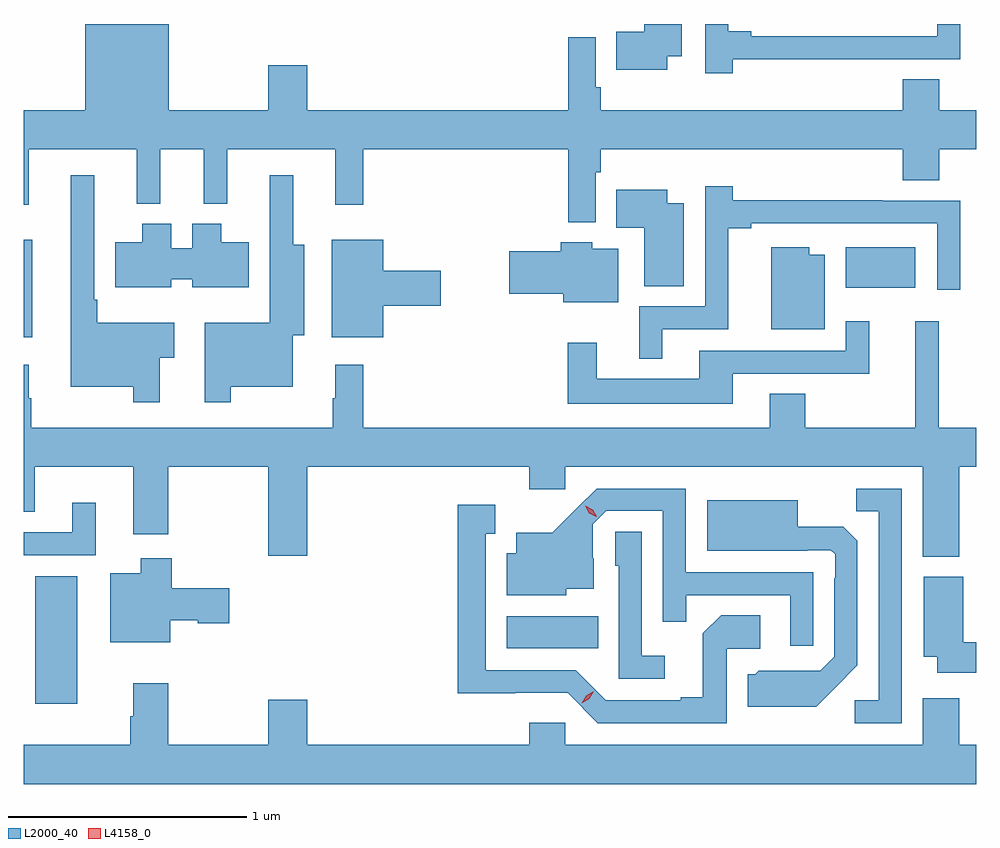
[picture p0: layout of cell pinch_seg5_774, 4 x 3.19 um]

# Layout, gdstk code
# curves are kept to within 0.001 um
import gdstk
lib = gdstk.Library(unit=1e-6, precision=1e-09)
def R(c, l, rs):  # rectangles x0, y0, x1, y1
    for r in rs: c.add(gdstk.rectangle(r[:2], r[2:], *l))
def P(c, l, *ps):  # polygons
    for p in ps: c.add(gdstk.Polygon(p, *l))
L2000_40 = (2000, 40)
L4158_0 = (4158, 0)

pinch_seg5_774 = lib.new_cell('pinch_seg5_774')
R(pinch_seg5_774, L2000_40, [(799.394,897.056,799.57,897.592), (801.374,897.29,801.758,897.424), (799.345,898.595,799.381,899.005), (802.796,898.802,803.089,898.972)])
P(pinch_seg5_774, L2000_40, [(799.604,899.548),(799.345,899.548),(799.345,899.151),(799.367,899.151),(799.367,899.384),(799.82,899.384),(799.82,899.156),(799.919,899.156),(799.919,899.384),(800.102,899.384),(800.102,899.156),(800.201,899.156),(800.201,899.384),(800.654,899.384),(800.654,899.151),(800.771,899.151),(800.771,899.384),(801.631,899.384),(801.631,899.078),(801.747,899.078),(801.747,899.288),(801.767,899.288),(801.767,899.384),(803.036,899.384),(803.036,899.254),(803.188,899.254),(803.188,899.384),(803.345,899.384),(803.345,899.548),(803.188,899.548),(803.188,899.678),(803.036,899.678),(803.036,899.548),(801.767,899.548),(801.767,899.644),(801.747,899.644),(801.747,899.854),(801.631,899.854),(801.631,899.548),(800.536,899.548),(800.536,899.737),(800.372,899.737),(800.372,899.548),(799.954,899.548),(799.954,899.91),(799.604,899.91)],
  [(802.048,899.774),(802.108,899.774),(802.108,899.91),(801.95,899.91),(801.95,899.878),(801.832,899.878),(801.832,899.717),(802.048,899.717)],
  [(802.322,899.762),(802.952,899.762),(802.952,899.763),(803.277,899.763),(803.277,899.91),(803.181,899.91),(803.181,899.859),(802.399,899.859),(802.399,899.879),(802.304,899.879),(802.304,899.91),(802.206,899.91),(802.206,899.703),(802.322,899.703)],
  [(800.215,898.388),(800.476,898.388),(800.476,898.604),(800.524,898.604),(800.524,898.984),(800.477,898.984),(800.477,899.275),(800.379,899.275),(800.379,898.657),(800.106,898.657),(800.106,898.323),(800.215,898.323)],
  [(799.916,898.51),(799.978,898.51),(799.978,898.657),(799.654,898.657),(799.654,898.753),(799.641,898.753),(799.641,899.275),(799.544,899.275),(799.544,898.388),(799.806,898.388),(799.806,898.323),(799.916,898.323)],
  [(802.027,898.629),(802.304,898.629),(802.304,899.053),(802.399,899.053),(802.399,899.073),(803.181,899.073),(803.181,898.794),(803.277,898.794),(803.277,899.169),(802.952,899.169),(802.952,899.171),(802.322,899.171),(802.322,899.23),(802.206,899.23),(802.206,898.725),(801.929,898.725),(801.929,898.505),(802.027,898.505)],
  [(802.117,899.158),(802.048,899.158),(802.048,899.215),(801.832,899.215),(801.832,899.054),(801.95,899.054),(801.95,898.81),(802.117,898.81)],
  [(799.966,898.838),(800.054,898.838),(800.054,898.805),(800.29,898.805),(800.29,898.993),(800.176,898.993),(800.176,899.071),(800.054,899.071),(800.054,898.968),(799.966,898.968),(799.966,899.071),(799.844,899.071),(799.844,898.993),(799.73,898.993),(799.73,898.805),(799.966,898.805)],
  [(800.854,898.727),(801.097,898.727),(801.097,898.874),(800.854,898.874),(800.854,899.005),(800.639,899.005),(800.639,898.595),(800.854,898.595)],
  [(801.841,898.966),(801.732,898.966),(801.732,898.993),(801.599,898.993),(801.599,898.956),(801.384,898.956),(801.384,898.778),(801.611,898.778),(801.611,898.742),(801.841,898.742)],
  [(802.708,898.942),(802.642,898.942),(802.642,898.972),(802.484,898.972),(802.484,898.628),(802.708,898.628)],
  [(802.321,898.443),(802.895,898.443),(802.895,898.663),(802.797,898.663),(802.797,898.539),(802.181,898.539),(802.181,898.42),(801.751,898.42),(801.751,898.573),(801.63,898.573),(801.63,898.316),(802.321,898.316)],
  [(803.273,898.052),(803.345,898.052),(803.345,898.216),(803.186,898.216),(803.186,898.663),(803.087,898.663),(803.087,898.216),(802.626,898.216),(802.626,898.358),(802.478,898.358),(802.478,898.216),(800.771,898.216),(800.771,898.48),(800.654,898.48),(800.654,898.34),(800.643,898.34),(800.643,898.216),(799.378,898.216),(799.378,898.34),(799.366,898.34),(799.366,898.48),(799.345,898.48),(799.345,897.862),(799.393,897.862),(799.393,898.052),(799.805,898.052),(799.805,897.768),(799.953,897.768),(799.953,898.052),(800.372,898.052),(800.372,897.678),(800.536,897.678),(800.536,898.052),(801.467,898.052),(801.467,897.957),(801.618,897.957),(801.618,898.052),(803.12,898.052),(803.12,897.674),(803.273,897.674)],
  [(803.031,897.96),(802.84,897.96),(802.84,897.865),(802.935,897.865),(802.935,897.072),(802.833,897.072),(802.833,896.976),(803.031,896.976)],
  [(802.659,897.609),(802.125,897.609),(802.125,897.96),(801.752,897.96),(801.565,897.775),(801.413,897.775),(801.413,897.688),(801.374,897.688),(801.374,897.512),(801.624,897.512),(801.624,897.539),(801.739,897.539),(801.739,897.668),(801.735,897.668),(801.735,897.81),(801.792,897.867),(802.029,897.867),(802.029,897.4),(802.127,897.4),(802.127,897.513),(802.563,897.513),(802.563,897.3),(802.659,897.3)],
  [(802.753,897.125),(802.845,897.218),(802.845,897.74),(802.786,897.799),(802.594,897.799),(802.594,897.91),(802.214,897.91),(802.214,897.698),(802.634,897.698),(802.634,897.702),(802.734,897.702),(802.752,897.684),(802.752,897.584),(802.749,897.584),(802.749,897.255),(802.689,897.195),(802.432,897.196),(802.416,897.18),(802.385,897.18),(802.385,897.044),(802.673,897.044)],
  [(799.648,897.901),(799.55,897.901),(799.55,897.777),(799.345,897.777),(799.345,897.681),(799.648,897.681)],
  [(802.296,897.288),(802.438,897.288),(802.438,897.428),(802.273,897.428),(802.197,897.352),(802.197,897.085),(802.103,897.085),(802.103,897.072),(801.789,897.072),(801.663,897.198),(801.286,897.198),(801.286,897.771),(801.325,897.771),(801.325,897.892),(801.168,897.892),(801.168,897.101),(801.63,897.102),(801.756,896.976),(802.296,896.976)],
  [(802.036,897.259),(801.939,897.259),(801.939,897.779),(801.828,897.779),(801.828,897.636),(801.843,897.636),(801.843,897.162),(802.036,897.162)],
  [(799.96,897.407),(800.076,897.407),(800.076,897.395),(800.209,897.395),(800.209,897.542),(799.968,897.542),(799.968,897.667),(799.838,897.667),(799.838,897.604),(799.709,897.604),(799.709,897.314),(799.96,897.314)],
  [(803.345,897.314),(803.29,897.314),(803.29,897.589),(803.123,897.589),(803.123,897.254),(803.18,897.254),(803.18,897.186),(803.345,897.186)],
  [(803.345,896.884),(803.273,896.884),(803.273,897.079),(803.12,897.079),(803.12,896.884),(801.618,896.884),(801.618,896.977),(801.467,896.977),(801.467,896.884),(800.536,896.884),(800.536,897.073),(800.372,897.073),(800.372,896.884),(799.953,896.884),(799.953,897.142),(799.805,897.142),(799.805,897.005),(799.793,897.005),(799.793,896.884),(799.345,896.884),(799.345,896.72),(803.345,896.72)])
P(pinch_seg5_774, L4158_0, [(801.75,897.841),(801.72,897.857),(801.703,897.887),(801.703,897.887),(801.703,897.887),(801.734,897.872),(801.751,897.842),(801.751,897.841)],
  [(801.688,897.058),(801.688,897.059),(801.706,897.091),(801.738,897.109),(801.738,897.109),(801.738,897.109),(801.72,897.077),(801.689,897.058)])

lib.write_gds('pinch_seg5_774.gds')
